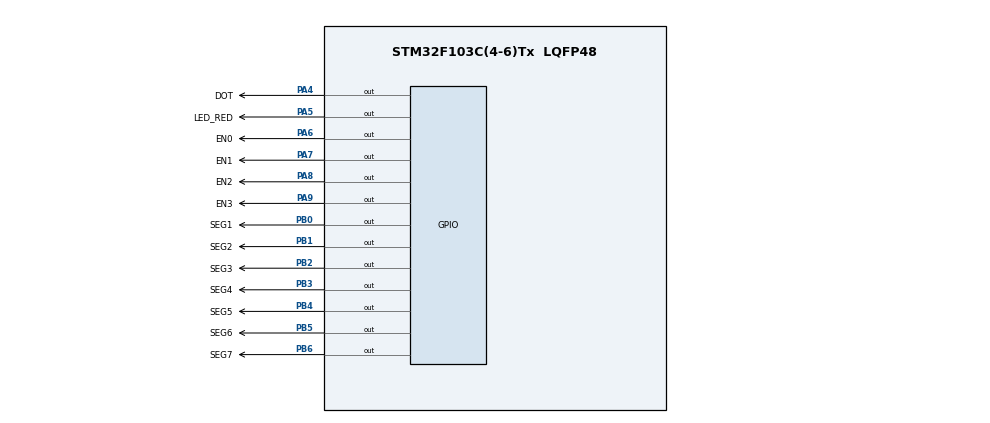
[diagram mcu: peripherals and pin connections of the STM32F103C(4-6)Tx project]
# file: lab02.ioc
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Mcu.Family=STM32F1
Mcu.Name=STM32F103C(4-6)Tx
Mcu.Package=LQFP48
NVIC.PriorityGroup=NVIC_PRIORITYGROUP_4
NVIC.TIM2_IRQn=true\:0\:0\:false\:false\:true\:true\:true
PA4.GPIO_Label=DOT
PA4.Signal=GPIO_Output
PA5.GPIO_Label=LED_RED
PA5.Signal=GPIO_Output
PA6.GPIO_Label=EN0
PA6.Signal=GPIO_Output
PA7.GPIO_Label=EN1
PA7.Signal=GPIO_Output
PA8.GPIO_Label=EN2
PA8.Signal=GPIO_Output
PA9.GPIO_Label=EN3
PA9.Signal=GPIO_Output
PB0.GPIO_Label=SEG1
PB0.Signal=GPIO_Output
PB1.GPIO_Label=SEG2
PB1.Signal=GPIO_Output
PB2.GPIO_Label=SEG3
PB2.Signal=GPIO_Output
PB3.GPIO_Label=SEG4
PB3.Signal=GPIO_Output
PB4.GPIO_Label=SEG5
PB4.Signal=GPIO_Output
PB5.GPIO_Label=SEG6
PB5.Signal=GPIO_Output
PB6.GPIO_Label=SEG7
PB6.Signal=GPIO_Output
ProjectManager.HeapSize=0x200
ProjectManager.StackSize=0x400
ProjectManager.TargetToolchain=STM32CubeIDE
RCC.APB1Freq_Value=8000000
RCC.APB2Freq_Value=8000000
TIM2.Period=9
TIM2.Prescaler=7999
VP_SYS_VS_ND.Mode=No_Debug
VP_TIM2_VS_ClockSourceINT.Mode=Internal
board=custom

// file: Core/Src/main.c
/* USER CODE BEGIN Header */
/**
  ******************************************************************************
  * @file           : main.c
  * @brief          : Main program body
  ******************************************************************************
  * @attention
  *
  * <h2><center>&copy; Copyright (c) 2024 STMicroelectronics.
  * All rights reserved.</center></h2>
  *
  * This software component is licensed by ST under BSD 3-Clause license,
  * the "License"; You may not use this file except in compliance with the
  * License. You may obtain a copy of the License at:
  *                        opensource.org/licenses/BSD-3-Clause
  *
  ******************************************************************************
  */
/* USER CODE END Header */
#include "main.h"

/* USER CODE BEGIN Includes */
//#include "software_timer.h"
/* USER CODE END Includes */

TIM_HandleTypeDef htim2;

void SystemClock_Config(void);
static void MX_GPIO_Init(void);
static void MX_TIM2_Init(void);

/* USER CODE BEGIN 0 */
void clear7SEG() {
	HAL_GPIO_WritePin(SEG1_GPIO_Port, SEG1_Pin, GPIO_PIN_SET);
	HAL_GPIO_WritePin(SEG2_GPIO_Port, SEG2_Pin, GPIO_PIN_SET);
	HAL_GPIO_WritePin(SEG3_GPIO_Port, SEG3_Pin, GPIO_PIN_SET);
	HAL_GPIO_WritePin(SEG4_GPIO_Port, SEG4_Pin, GPIO_PIN_SET);
	HAL_GPIO_WritePin(SEG5_GPIO_Port, SEG5_Pin, GPIO_PIN_SET);
	HAL_GPIO_WritePin(SEG6_GPIO_Port, SEG6_Pin, GPIO_PIN_SET);
	HAL_GPIO_WritePin(SEG7_GPIO_Port, SEG7_Pin, GPIO_PIN_SET);
}
// End clear7SEG

void display7SEG (int num) {
  // Set = Tat; Reset = Sang (giong LED)
  switch (num) {
	case 0:
		HAL_GPIO_WritePin(SEG1_GPIO_Port, SEG1_Pin, GPIO_PIN_RESET);
		HAL_GPIO_WritePin(SEG2_GPIO_Port, SEG2_Pin, GPIO_PIN_RESET);
		HAL_GPIO_WritePin(SEG3_GPIO_Port, SEG3_Pin, GPIO_PIN_RESET);
		HAL_GPIO_WritePin(SEG4_GPIO_Port, SEG4_Pin, GPIO_PIN_RESET);
		HAL_GPIO_WritePin(SEG5_GPIO_Port, SEG5_Pin, GPIO_PIN_RESET);
		HAL_GPIO_WritePin(SEG6_GPIO_Port, SEG6_Pin, GPIO_PIN_RESET);
		HAL_GPIO_WritePin(SEG7_GPIO_Port, SEG7_Pin, GPIO_PIN_SET);
		break;
	case 1:
		HAL_GPIO_WritePin(SEG1_GPIO_Port, SEG1_Pin, GPIO_PIN_SET);
		HAL_GPIO_WritePin(SEG2_GPIO_Port, SEG2_Pin, GPIO_PIN_RESET);  //B
		HAL_GPIO_WritePin(SEG3_GPIO_Port, SEG3_Pin, GPIO_PIN_RESET);  //C
		HAL_GPIO_WritePin(SEG4_GPIO_Port, SEG4_Pin, GPIO_PIN_SET);
		HAL_GPIO_WritePin(SEG5_GPIO_Port, SEG5_Pin, GPIO_PIN_SET);
		HAL_GPIO_WritePin(SEG6_GPIO_Port, SEG6_Pin, GPIO_PIN_SET);
		HAL_GPIO_WritePin(SEG7_GPIO_Port, SEG7_Pin, GPIO_PIN_SET);
		break;
	case 2:
		HAL_GPIO_WritePin(SEG1_GPIO_Port, SEG1_Pin, GPIO_PIN_RESET);
		HAL_GPIO_WritePin(SEG2_GPIO_Port, SEG2_Pin, GPIO_PIN_RESET);
		HAL_GPIO_WritePin(SEG3_GPIO_Port, SEG3_Pin, GPIO_PIN_SET);
		HAL_GPIO_WritePin(SEG4_GPIO_Port, SEG4_Pin, GPIO_PIN_RESET);
		HAL_GPIO_WritePin(SEG5_GPIO_Port, SEG5_Pin, GPIO_PIN_RESET);
		HAL_GPIO_WritePin(SEG6_GPIO_Port, SEG6_Pin, GPIO_PIN_SET);
		HAL_GPIO_WritePin(SEG7_GPIO_Port, SEG7_Pin, GPIO_PIN_RESET);
		break;
	case 3:
		HAL_GPIO_WritePin(SEG1_GPIO_Port, SEG1_Pin, GPIO_PIN_RESET);
		HAL_GPIO_WritePin(SEG2_GPIO_Port, SEG2_Pin, GPIO_PIN_RESET);
		HAL_GPIO_WritePin(SEG3_GPIO_Port, SEG3_Pin, GPIO_PIN_RESET);
		HAL_GPIO_WritePin(SEG4_GPIO_Port, SEG4_Pin, GPIO_PIN_RESET);
		HAL_GPIO_WritePin(SEG5_GPIO_Port, SEG5_Pin, GPIO_PIN_SET);
		HAL_GPIO_WritePin(SEG6_GPIO_Port, SEG6_Pin, GPIO_PIN_SET);
		HAL_GPIO_WritePin(SEG7_GPIO_Port, SEG7_Pin, GPIO_PIN_RESET);
		break;
	case 4:
		HAL_GPIO_WritePin(SEG1_GPIO_Port, SEG1_Pin, GPIO_PIN_SET);
		HAL_GPIO_WritePin(SEG2_GPIO_Port, SEG2_Pin, GPIO_PIN_RESET);
		HAL_GPIO_WritePin(SEG3_GPIO_Port, SEG3_Pin, GPIO_PIN_RESET);
		HAL_GPIO_WritePin(SEG4_GPIO_Port, SEG4_Pin, GPIO_PIN_SET);
		HAL_GPIO_WritePin(SEG5_GPIO_Port, SEG5_Pin, GPIO_PIN_SET);
		HAL_GPIO_WritePin(SEG6_GPIO_Port, SEG6_Pin, GPIO_PIN_RESET);
		HAL_GPIO_WritePin(SEG7_GPIO_Port, SEG7_Pin, GPIO_PIN_RESET);
		break;
	case 5:
		HAL_GPIO_WritePin(SEG1_GPIO_Port, SEG1_Pin, GPIO_PIN_RESET);
		HAL_GPIO_WritePin(SEG2_GPIO_Port, SEG2_Pin, GPIO_PIN_SET);
		HAL_GPIO_WritePin(SEG3_GPIO_Port, SEG3_Pin, GPIO_PIN_RESET);
		HAL_GPIO_WritePin(SEG4_GPIO_Port, SEG4_Pin, GPIO_PIN_RESET);
		HAL_GPIO_WritePin(SEG5_GPIO_Port, SEG5_Pin, GPIO_PIN_SET);
		HAL_GPIO_WritePin(SEG6_GPIO_Port, SEG6_Pin, GPIO_PIN_RESET);
		HAL_GPIO_WritePin(SEG7_GPIO_Port, SEG7_Pin, GPIO_PIN_RESET);
		break;
	case 6:
		HAL_GPIO_WritePin(SEG1_GPIO_Port, SEG1_Pin, GPIO_PIN_RESET);
		HAL_GPIO_WritePin(SEG2_GPIO_Port, SEG2_Pin, GPIO_PIN_SET);
		HAL_GPIO_WritePin(SEG3_GPIO_Port, SEG3_Pin, GPIO_PIN_RESET);
		HAL_GPIO_WritePin(SEG4_GPIO_Port, SEG4_Pin, GPIO_PIN_RESET);
		HAL_GPIO_WritePin(SEG5_GPIO_Port, SEG5_Pin, GPIO_PIN_RESET);
		HAL_GPIO_WritePin(SEG6_GPIO_Port, SEG6_Pin, GPIO_PIN_RESET);
		HAL_GPIO_WritePin(SEG7_GPIO_Port, SEG7_Pin, GPIO_PIN_RESET);
		break;
	case 7:
		HAL_GPIO_WritePin(SEG1_GPIO_Port, SEG1_Pin, GPIO_PIN_RESET);
		HAL_GPIO_WritePin(SEG2_GPIO_Port, SEG2_Pin, GPIO_PIN_RESET);
		HAL_GPIO_WritePin(SEG3_GPIO_Port, SEG3_Pin, GPIO_PIN_RESET);
		HAL_GPIO_WritePin(SEG4_GPIO_Port, SEG4_Pin, GPIO_PIN_SET);
		HAL_GPIO_WritePin(SEG5_GPIO_Port, SEG5_Pin, GPIO_PIN_SET);
		HAL_GPIO_WritePin(SEG6_GPIO_Port, SEG6_Pin, GPIO_PIN_SET);
		HAL_GPIO_WritePin(SEG7_GPIO_Port, SEG7_Pin, GPIO_PIN_SET);
		break;
	case 8:
		HAL_GPIO_WritePin(SEG1_GPIO_Port, SEG1_Pin, GPIO_PIN_RESET);
		HAL_GPIO_WritePin(SEG2_GPIO_Port, SEG2_Pin, GPIO_PIN_RESET);
		HAL_GPIO_WritePin(SEG3_GPIO_Port, SEG3_Pin, GPIO_PIN_RESET);
		HAL_GPIO_WritePin(SEG4_GPIO_Port, SEG4_Pin, GPIO_PIN_RESET);
		HAL_GPIO_WritePin(SEG5_GPIO_Port, SEG5_Pin, GPIO_PIN_RESET);
		HAL_GPIO_WritePin(SEG6_GPIO_Port, SEG6_Pin, GPIO_PIN_RESET);
		HAL_GPIO_WritePin(SEG7_GPIO_Port, SEG7_Pin, GPIO_PIN_RESET);
		break;
	case 9:
		HAL_GPIO_WritePin(SEG1_GPIO_Port, SEG1_Pin, GPIO_PIN_RESET);
		HAL_GPIO_WritePin(SEG2_GPIO_Port, SEG2_Pin, GPIO_PIN_RESET);
		HAL_GPIO_WritePin(SEG3_GPIO_Port, SEG3_Pin, GPIO_PIN_RESET);
		HAL_GPIO_WritePin(SEG4_GPIO_Port, SEG4_Pin, GPIO_PIN_RESET);
		HAL_GPIO_WritePin(SEG5_GPIO_Port, SEG5_Pin, GPIO_PIN_SET);
		HAL_GPIO_WritePin(SEG6_GPIO_Port, SEG6_Pin, GPIO_PIN_RESET);
		HAL_GPIO_WritePin(SEG7_GPIO_Port, SEG7_Pin, GPIO_PIN_RESET);
		break;
	default:
		clear7SEG();
		break;
}
}
// End display7SEG

//void initState() {
//	clear7SEG();
//	HAL_GPIO_WritePin(EN0_GPIO_Port, EN0_Pin, GPIO_PIN_SET);
//	HAL_GPIO_WritePin(EN1_GPIO_Port, EN1_Pin, GPIO_PIN_SET);
//	HAL_GPIO_WritePin(EN2_GPIO_Port, EN2_Pin, GPIO_PIN_SET);
//	HAL_GPIO_WritePin(EN3_GPIO_Port, EN3_Pin, GPIO_PIN_SET);
//}

const unsigned int MAX_LED = 4;
int index_led = 0;
int led_buffer[4] = {1, 2, 3, 4};
void update7SEG ( int index ){
	switch (index) {
		case 0:
			display7SEG(led_buffer[0]);
			HAL_GPIO_WritePin(EN0_GPIO_Port, EN0_Pin, RESET);
			HAL_GPIO_WritePin(EN1_GPIO_Port, EN1_Pin, SET);
			HAL_GPIO_WritePin(EN2_GPIO_Port, EN2_Pin, SET);
			HAL_GPIO_WritePin(EN3_GPIO_Port, EN3_Pin, SET);
			break;
		case 1:
			display7SEG(led_buffer[1]);
			HAL_GPIO_WritePin(EN0_GPIO_Port, EN0_Pin, SET);
			HAL_GPIO_WritePin(EN1_GPIO_Port, EN1_Pin, RESET);
			HAL_GPIO_WritePin(EN2_GPIO_Port, EN2_Pin, SET);
			HAL_GPIO_WritePin(EN3_GPIO_Port, EN3_Pin, SET);
			break;
		case 2:
			display7SEG(led_buffer[2]);
			HAL_GPIO_WritePin(EN0_GPIO_Port, EN0_Pin, SET);
			HAL_GPIO_WritePin(EN1_GPIO_Port, EN1_Pin, SET);
			HAL_GPIO_WritePin(EN2_GPIO_Port, EN2_Pin, RESET);
			HAL_GPIO_WritePin(EN3_GPIO_Port, EN3_Pin, SET);
			break;
		case 3:
			display7SEG(led_buffer[3]);
			HAL_GPIO_WritePin(EN0_GPIO_Port, EN0_Pin, SET);
			HAL_GPIO_WritePin(EN1_GPIO_Port, EN1_Pin, SET);
			HAL_GPIO_WritePin(EN2_GPIO_Port, EN2_Pin, SET);
			HAL_GPIO_WritePin(EN3_GPIO_Port, EN3_Pin, RESET);
			break;
		default:
			HAL_GPIO_WritePin(EN0_GPIO_Port, EN0_Pin, RESET);
			HAL_GPIO_WritePin(EN1_GPIO_Port, EN1_Pin, RESET);
			HAL_GPIO_WritePin(EN2_GPIO_Port, EN2_Pin, RESET);
			HAL_GPIO_WritePin(EN3_GPIO_Port, EN3_Pin, RESET);
			break;
	}
}

void updateClockBuffer(int hour, int minute) {
	led_buffer[0] = hour / 10;
	led_buffer[1] = hour % 10;
	led_buffer[2] = minute / 10;
	led_buffer[3] = minute % 10;
}

int TIMER_CYCLE = 10;

int timer0_counter = 0;
int timer0_flag = 1;
void setTimer0(int duration){
	timer0_counter = duration / TIMER_CYCLE;
	timer0_flag = 0;
}

int timer1_counter = 0;
int timer1_flag = 1;
void setTimer1(int duration){
	timer1_counter = duration / TIMER_CYCLE;
	timer1_flag = 0;
}

void timer_run(){
	if(timer0_counter > 0){
		timer0_counter--;
		if(timer0_counter == 0) timer0_flag = 1;
	}

	if(timer1_counter > 0){
		timer1_counter--;
		if(timer1_counter == 0) timer1_flag = 1;
	}
}

void initState() {
	display7SEG(8);
	HAL_Delay(2000);
	clear7SEG();
	HAL_GPIO_WritePin(GPIOA, GPIO_PIN_All, GPIO_PIN_SET);
	HAL_Delay(1000);
}

/* USER CODE END 0 */

int main(void)
{

  /* MCU Configuration--------------------------------------------------------*/

  /* Reset of all peripherals, Initializes the Flash interface and the Systick. */
  HAL_Init();

  /* Configure the system clock */
  SystemClock_Config();

  /* Initialize all configured peripherals */
  MX_GPIO_Init();
  MX_TIM2_Init();
  /* USER CODE BEGIN 2 */
  HAL_TIM_Base_Start_IT (&htim2);
  initState();
  /* USER CODE END 2 */

  /* Infinite loop */
  /* USER CODE BEGIN WHILE */
//  int count = 0;
//  HAL_GPIO_WritePin(DOT_GPIO_Port, DOT_Pin, RESET);
//  int hour = 15 , minute = 8, second = 50;

//  int timer0_counter = 0;
//  int timer0_flag = 0;
//  int TIMER_CYCLE = 10;
//  void set_Timer0(int duration){
//	  timer0_counter = duration / TIMER_CYCLE;
//	  timer0_flag = 0;
//  }
//
//  void timer_run(){
//	  if(timer0_counter > 0){
//		  timer0_counter--;
//	  }
//  }

  int hour = 15 , minute = 59, second = 57;
  int duration = 1000;
  while (1)
  {
    /* USER CODE END WHILE */

    /* USER CODE BEGIN 3 */
//	  display7SEG(count++);

	  if(timer0_flag == 1){
		  HAL_GPIO_TogglePin(DOT_GPIO_Port, DOT_Pin);
		  second++;
		  if (second >= 60) {
			  second = 0;
			  minute++;
		  }
		  if( minute >= 60) {
			  minute = 0;
			  hour++;
		  }
		  if( hour >=24){
			  hour = 0;
		  }
		  updateClockBuffer(hour, minute);
		  setTimer0(duration);
	  }

	  if(timer1_flag == 1){
		  update7SEG(index_led++);
		  if(!(index_led < MAX_LED)) index_led = 0;

		  setTimer1(duration/MAX_LED);
	  }
  }

  /* USER CODE END 3 */
}

void SystemClock_Config(void)
{
  RCC_OscInitTypeDef RCC_OscInitStruct = {0};
  RCC_ClkInitTypeDef RCC_ClkInitStruct = {0};

  /** Initializes the RCC Oscillators according to the specified parameters
  * in the RCC_OscInitTypeDef structure.
  */
  RCC_OscInitStruct.OscillatorType = RCC_OSCILLATORTYPE_HSI;
  RCC_OscInitStruct.HSIState = RCC_HSI_ON;
  RCC_OscInitStruct.HSICalibrationValue = RCC_HSICALIBRATION_DEFAULT;
  RCC_OscInitStruct.PLL.PLLState = RCC_PLL_NONE;
  if (HAL_RCC_OscConfig(&RCC_OscInitStruct) != HAL_OK)
  {
    Error_Handler();
  }
  /** Initializes the CPU, AHB and APB buses clocks
  */
  RCC_ClkInitStruct.ClockType = RCC_CLOCKTYPE_HCLK|RCC_CLOCKTYPE_SYSCLK
                              |RCC_CLOCKTYPE_PCLK1|RCC_CLOCKTYPE_PCLK2;
  RCC_ClkInitStruct.SYSCLKSource = RCC_SYSCLKSOURCE_HSI;
  RCC_ClkInitStruct.AHBCLKDivider = RCC_SYSCLK_DIV1;
  RCC_ClkInitStruct.APB1CLKDivider = RCC_HCLK_DIV1;
  RCC_ClkInitStruct.APB2CLKDivider = RCC_HCLK_DIV1;

  if (HAL_RCC_ClockConfig(&RCC_ClkInitStruct, FLASH_LATENCY_0) != HAL_OK)
  {
    Error_Handler();
  }
}

static void MX_TIM2_Init(void)
{

  TIM_ClockConfigTypeDef sClockSourceConfig = {0};
  TIM_MasterConfigTypeDef sMasterConfig = {0};

  htim2.Instance = TIM2;
  htim2.Init.Prescaler = 7999;
  htim2.Init.CounterMode = TIM_COUNTERMODE_UP;
  htim2.Init.Period = 9;
  htim2.Init.ClockDivision = TIM_CLOCKDIVISION_DIV1;
  htim2.Init.AutoReloadPreload = TIM_AUTORELOAD_PRELOAD_DISABLE;
  if (HAL_TIM_Base_Init(&htim2) != HAL_OK)
  {
    Error_Handler();
  }
  sClockSourceConfig.ClockSource = TIM_CLOCKSOURCE_INTERNAL;
  if (HAL_TIM_ConfigClockSource(&htim2, &sClockSourceConfig) != HAL_OK)
  {
    Error_Handler();
  }
  sMasterConfig.MasterOutputTrigger = TIM_TRGO_RESET;
  sMasterConfig.MasterSlaveMode = TIM_MASTERSLAVEMODE_DISABLE;
  if (HAL_TIMEx_MasterConfigSynchronization(&htim2, &sMasterConfig) != HAL_OK)
  {
    Error_Handler();
  }

}

static void MX_GPIO_Init(void)
{
  GPIO_InitTypeDef GPIO_InitStruct = {0};

  /* GPIO Ports Clock Enable */
  __HAL_RCC_GPIOA_CLK_ENABLE();
  __HAL_RCC_GPIOB_CLK_ENABLE();

  /*Configure GPIO pin Output Level */
  HAL_GPIO_WritePin(GPIOA, DOT_Pin|LED_RED_Pin|EN0_Pin|EN1_Pin
                          |EN2_Pin|EN3_Pin, GPIO_PIN_RESET);

  /*Configure GPIO pin Output Level */
  HAL_GPIO_WritePin(GPIOB, SEG1_Pin|SEG2_Pin|SEG3_Pin|SEG4_Pin
                          |SEG5_Pin|SEG6_Pin|SEG7_Pin, GPIO_PIN_RESET);

  /*Configure GPIO pins : DOT_Pin LED_RED_Pin EN0_Pin EN1_Pin
                           EN2_Pin EN3_Pin */
  GPIO_InitStruct.Pin = DOT_Pin|LED_RED_Pin|EN0_Pin|EN1_Pin
                          |EN2_Pin|EN3_Pin;
  GPIO_InitStruct.Mode = GPIO_MODE_OUTPUT_PP;
  GPIO_InitStruct.Pull = GPIO_NOPULL;
  GPIO_InitStruct.Speed = GPIO_SPEED_FREQ_LOW;
  HAL_GPIO_Init(GPIOA, &GPIO_InitStruct);

  /*Configure GPIO pins : SEG1_Pin SEG2_Pin SEG3_Pin SEG4_Pin
                           SEG5_Pin SEG6_Pin SEG7_Pin */
  GPIO_InitStruct.Pin = SEG1_Pin|SEG2_Pin|SEG3_Pin|SEG4_Pin
                          |SEG5_Pin|SEG6_Pin|SEG7_Pin;
  GPIO_InitStruct.Mode = GPIO_MODE_OUTPUT_PP;
  GPIO_InitStruct.Pull = GPIO_NOPULL;
  GPIO_InitStruct.Speed = GPIO_SPEED_FREQ_LOW;
  HAL_GPIO_Init(GPIOB, &GPIO_InitStruct);

}

/* USER CODE BEGIN 4 */
//int counter = 100;
//void HAL_TIM_PeriodElapsedCallback ( TIM_HandleTypeDef * htim )
//{
//	// Testing
//	HAL_GPIO_TogglePin(Led_Test_Timer_GPIO_Port, Led_Test_Timer_Pin);
//
//	//display7SEG(8);
//	//HAL_GPIO_TogglePin(En0_GPIO_Port, En0_Pin);
//	//HAL_GPIO_TogglePin(En1_GPIO_Port, En1_Pin);
//	//HAL_GPIO_TogglePin(En2_GPIO_Port, En2_Pin);
//	//HAL_GPIO_TogglePin(En3_GPIO_Port, En3_Pin);
//
//	// Production
//	if (counter == 100) {
//		display7SEG(1);
//		HAL_GPIO_WritePin(EN0_GPIO_Port, EN0_Pin, GPIO_PIN_RESET);
//		HAL_GPIO_WritePin(EN1_GPIO_Port, EN1_Pin, GPIO_PIN_SET);
//	} else if(counter == 50) {
//		display7SEG(2);
//		HAL_GPIO_WritePin(EN0_GPIO_Port, EN0_Pin, GPIO_PIN_SET);
//		HAL_GPIO_WritePin(EN1_GPIO_Port, EN1_Pin, GPIO_PIN_RESET);
//	}
//	counter = (counter > 0) ? counter-1 : 100;
//}

//const unsigned int scale = 200;
//int counter = scale;
//void HAL_TIM_PeriodElapsedCallback ( TIM_HandleTypeDef * htim )
//{
//	if (counter == scale) {
//		display7SEG(1);
//		HAL_GPIO_WritePin(EN3_GPIO_Port, EN3_Pin, GPIO_PIN_SET);
//		HAL_GPIO_WritePin(EN0_GPIO_Port, EN0_Pin, GPIO_PIN_RESET);
//	} else if(counter == (scale*3/4)) {
//		display7SEG(2);
//		HAL_GPIO_WritePin(EN0_GPIO_Port, EN0_Pin, GPIO_PIN_SET);
//		HAL_GPIO_WritePin(EN1_GPIO_Port, EN1_Pin, GPIO_PIN_RESET);
//	} else if (counter == (scale*2/4)) {
//		display7SEG(3);
//		HAL_GPIO_WritePin(EN1_GPIO_Port, EN1_Pin, GPIO_PIN_SET);
//		HAL_GPIO_WritePin(EN2_GPIO_Port, EN2_Pin, GPIO_PIN_RESET);
//	} else if (counter == (scale*1/4)) {
//		display7SEG(0);
//		HAL_GPIO_WritePin(EN2_GPIO_Port, EN2_Pin, GPIO_PIN_SET);
//		HAL_GPIO_WritePin(EN3_GPIO_Port, EN3_Pin, GPIO_PIN_RESET);
//	}
//	counter = (counter > 0) ? counter-1 : scale;
//}

//const unsigned int SCALE = 200; // Switch time * Number of LED / timer (in ms)
//int counter = SCALE;
//unsigned int index_led = 0;
//int dot_counter = 0;

//void HAL_TIM_PeriodElapsedCallback ( TIM_HandleTypeDef * htim )
//{
//
//	if (counter == SCALE) {
//		update7SEG(index_led++);
//	} else if(counter == (SCALE*3/4)) {
//		update7SEG(index_led++);
//	} else if (counter == (SCALE*2/4)) {
//		update7SEG(index_led++);
//	} else if (counter == (SCALE*1/4)) {
//		update7SEG(index_led++);
//	}
//
//	if (!(index_led < MAX_LED)) index_led = 0;
//
//	counter = (counter > 0) ? counter-1 : SCALE;
//}

//void HAL_TIM_PeriodElapsedCallback ( TIM_HandleTypeDef * htim )
//{
//	if (counter == SCALE) {
//		update7SEG(index_led++);
//		if (index_led >= MAX_LED) index_led = 0;
//		counter = 0;
//	}
//
//	counter++;
//
//	dot_counter++;
//	if (dot_counter >= 4) { // 4 * 250 ms = 1000 ms
////		HAL_GPIO_TogglePin(DOT_GPIO_Port, DOT_Pin);
//		dot_counter = 0; // Reset the dot counter
//    }
//}

//const unsigned int SCALE = 100;
//int counter = SCALE;
//unsigned int index_led = 0;
//
//void HAL_TIM_PeriodElapsedCallback ( TIM_HandleTypeDef * htim )
//{
//	if (counter == SCALE) {
//		update7SEG(index_led++);
//	} else if(counter == (SCALE*3/4)) {
//		update7SEG(index_led++);
//	} else if (counter == (SCALE*2/4)) {
//		update7SEG(index_led++);
//	} else if (counter == (SCALE*1/4)) {
//		update7SEG(index_led++);
//	}
//
//	if (!(index_led < MAX_LED)) index_led = 0;
//
//	counter = (counter > 0) ? counter-1 : SCALE;
//}

void HAL_TIM_PeriodElapsedCallback ( TIM_HandleTypeDef * htim ){
	timer_run();
}
/* USER CODE END 4 */

void Error_Handler(void)
{
  __disable_irq();
  while (1)
  {
  }
}

/************************ (C) COPYRIGHT STMicroelectronics *****END OF FILE****/
